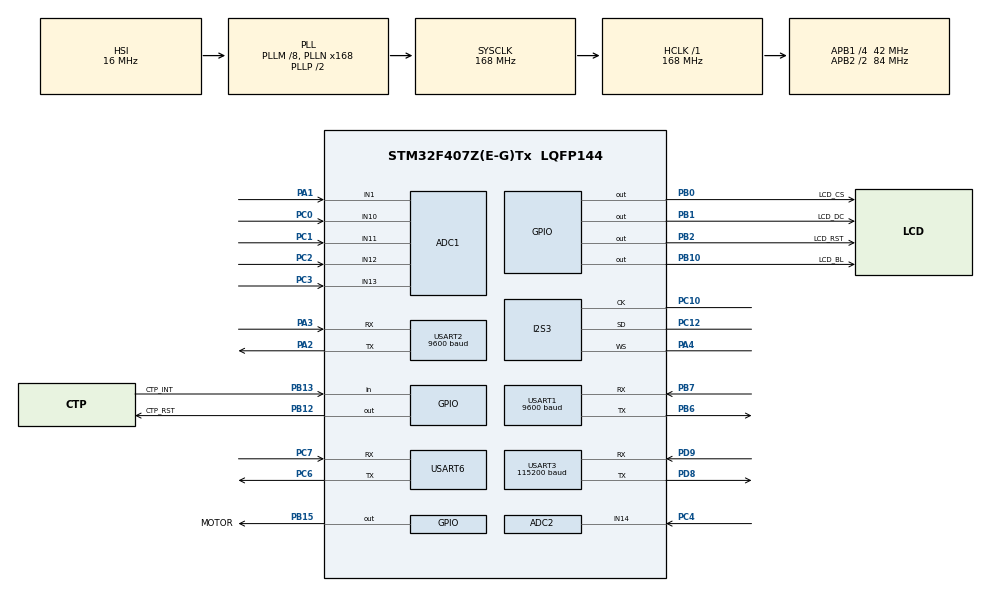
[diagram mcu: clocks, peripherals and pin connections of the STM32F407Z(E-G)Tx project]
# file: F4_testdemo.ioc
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ADC1.Channel-2\#ChannelRegularConversion=ADC_CHANNEL_1
ADC1.Channel-3\#ChannelRegularConversion=ADC_CHANNEL_10
ADC1.Channel-4\#ChannelRegularConversion=ADC_CHANNEL_11
ADC1.Channel-5\#ChannelRegularConversion=ADC_CHANNEL_12
ADC1.Channel-6\#ChannelRegularConversion=ADC_CHANNEL_13
ADC1.ContinuousConvMode=DISABLE
ADC1.DMAContinuousRequests=ENABLE
ADC1.EOCSelection=ADC_EOC_SEQ_CONV
ADC1.ExternalTrigConv=ADC_EXTERNALTRIGCONV_T3_TRGO
ADC1.NbrOfConversion=5
ADC1.NbrOfConversionFlag=1
ADC1.Rank-2\#ChannelRegularConversion=1
ADC1.Rank-3\#ChannelRegularConversion=2
ADC1.Rank-4\#ChannelRegularConversion=3
ADC1.Rank-5\#ChannelRegularConversion=4
ADC1.Rank-6\#ChannelRegularConversion=5
ADC1.SamplingTime-2\#ChannelRegularConversion=ADC_SAMPLETIME_15CYCLES
ADC1.SamplingTime-3\#ChannelRegularConversion=ADC_SAMPLETIME_15CYCLES
ADC1.SamplingTime-4\#ChannelRegularConversion=ADC_SAMPLETIME_15CYCLES
ADC1.SamplingTime-5\#ChannelRegularConversion=ADC_SAMPLETIME_15CYCLES
ADC1.SamplingTime-6\#ChannelRegularConversion=ADC_SAMPLETIME_15CYCLES
ADC1.ScanConvMode=ENABLE
ADC1.master=1
ADC2.Channel-0\#ChannelRegularConversion=ADC_CHANNEL_14
ADC2.NbrOfConversionFlag=1
ADC2.Rank-0\#ChannelRegularConversion=1
ADC2.SamplingTime-0\#ChannelRegularConversion=ADC_SAMPLETIME_3CYCLES
Dma.ADC1.1.Direction=DMA_PERIPH_TO_MEMORY
Dma.ADC1.1.FIFOMode=DMA_FIFOMODE_DISABLE
Dma.ADC1.1.Instance=DMA2_Stream0
Dma.ADC1.1.MemDataAlignment=DMA_MDATAALIGN_HALFWORD
Dma.ADC1.1.MemInc=DMA_MINC_ENABLE
Dma.ADC1.1.Mode=DMA_NORMAL
Dma.ADC1.1.PeriphDataAlignment=DMA_PDATAALIGN_HALFWORD
Dma.ADC1.1.PeriphInc=DMA_PINC_DISABLE
Dma.ADC1.1.Priority=DMA_PRIORITY_LOW
Dma.Request0=SPI3_RX
Dma.Request1=ADC1
Dma.SPI3_RX.0.Direction=DMA_PERIPH_TO_MEMORY
Dma.SPI3_RX.0.FIFOMode=DMA_FIFOMODE_DISABLE
Dma.SPI3_RX.0.Instance=DMA1_Stream0
Dma.SPI3_RX.0.MemDataAlignment=DMA_MDATAALIGN_HALFWORD
Dma.SPI3_RX.0.MemInc=DMA_MINC_ENABLE
Dma.SPI3_RX.0.Mode=DMA_CIRCULAR
Dma.SPI3_RX.0.PeriphDataAlignment=DMA_PDATAALIGN_HALFWORD
Dma.SPI3_RX.0.PeriphInc=DMA_PINC_DISABLE
Dma.SPI3_RX.0.Priority=DMA_PRIORITY_HIGH
I2S3.AudioFreq=I2S_AUDIOFREQ_16K
I2S3.DataFormat=I2S_DATAFORMAT_24B
I2S3.ErrorAudioFreq=-0.35 %
I2S3.FullDuplexMode=I2S_FULLDUPLEXMODE_DISABLE
I2S3.Instance=SPI$Index
I2S3.Mode=I2S_MODE_MASTER_RX
I2S3.RealAudioFreq=15.943 KHz
I2S3.VirtualMode=I2S_MODE_MASTER
Mcu.Family=STM32F4
Mcu.Name=STM32F407Z(E-G)Tx
Mcu.Package=LQFP144
NVIC.DMA1_Stream0_IRQn=true\:0\:0\:false\:false\:true\:false\:true\:true
NVIC.DMA2_Stream0_IRQn=true\:0\:0\:false\:false\:true\:true\:true\:true
NVIC.PriorityGroup=NVIC_PRIORITYGROUP_4
NVIC.TIM6_DAC_IRQn=true\:0\:0\:false\:false\:true\:true\:true\:true
NVIC.TIM8_UP_TIM13_IRQn=true\:15\:0\:false\:false\:true\:false\:true\:true
NVIC.TimeBase=TIM8_UP_TIM13_IRQn
NVIC.TimeBaseIP=TIM13
NVIC.USART1_IRQn=true\:0\:0\:false\:false\:true\:true\:true\:true
NVIC.USART2_IRQn=true\:0\:0\:false\:false\:true\:true\:true\:true
NVIC.USART3_IRQn=true\:0\:0\:false\:false\:true\:true\:true\:true
NVIC.USART6_IRQn=true\:0\:0\:false\:false\:true\:true\:true\:true
PA1.Signal=ADCx_IN1
PA13.Mode=Serial_Wire
PA13.Signal=SYS_JTMS-SWDIO
PA14.Mode=Serial_Wire
PA14.Signal=SYS_JTCK-SWCLK
PA2.Mode=Asynchronous
PA2.Signal=USART2_TX
PA3.Mode=Asynchronous
PA3.Signal=USART2_RX
PA4.Mode=Half_Duplex_Master
PA4.Signal=I2S3_WS
PB0.GPIO_Label=LCD_CS
PB0.PinState=GPIO_PIN_SET
PB0.Signal=GPIO_Output
PB1.GPIO_Label=LCD_DC
PB1.Signal=GPIO_Output
PB10.GPIO_Label=LCD_BL
PB10.Signal=GPIO_Output
PB12.GPIO_Label=CTP_RST
PB12.Signal=GPIO_Output
PB13.GPIO_Label=CTP_INT
PB13.Signal=GPIO_Input
PB15.GPIO_Label=MOTOR
PB15.Signal=GPIO_Output
PB2.GPIO_Label=LCD_RST
PB2.Signal=GPIO_Output
PB6.Mode=Asynchronous
PB6.Signal=USART1_TX
PB7.Mode=Asynchronous
PB7.Signal=USART1_RX
PC0.Signal=ADCx_IN10
PC1.Signal=ADCx_IN11
PC10.Mode=Half_Duplex_Master
PC10.Signal=I2S3_CK
PC12.Mode=Half_Duplex_Master
PC12.Signal=I2S3_SD
PC2.Signal=ADCx_IN12
PC3.Signal=ADCx_IN13
PC4.Signal=ADCx_IN14
PC6.Mode=Asynchronous
PC6.Signal=USART6_TX
PC7.Mode=Asynchronous
PC7.Signal=USART6_RX
PD8.Mode=Asynchronous
PD8.Signal=USART3_TX
PD9.Mode=Asynchronous
PD9.Signal=USART3_RX
PH0-OSC_IN.Mode=HSE-External-Oscillator
PH0-OSC_IN.Signal=RCC_OSC_IN
PH1-OSC_OUT.Mode=HSE-External-Oscillator
PH1-OSC_OUT.Signal=RCC_OSC_OUT
ProjectManager.HeapSize=0x800
ProjectManager.StackSize=0x800
ProjectManager.TargetToolchain=MDK-ARM V5.32
RCC.48MHZClocksFreq_Value=84000000
RCC.AHBFreq_Value=168000000
RCC.APB1CLKDivider=RCC_HCLK_DIV4
RCC.APB1Freq_Value=42000000
RCC.APB1TimFreq_Value=84000000
RCC.APB2CLKDivider=RCC_HCLK_DIV2
RCC.APB2Freq_Value=84000000
RCC.APB2TimFreq_Value=168000000
RCC.CortexFreq_Value=168000000
RCC.HCLKFreq_Value=168000000
RCC.HSE_VALUE=25000000
RCC.HSI_VALUE=16000000
RCC.LSE_VALUE=32768
RCC.PLLI2SN=50
RCC.PLLM=8
RCC.PLLN=168
RCC.SYSCLKFreq_VALUE=168000000
RCC.SYSCLKSource=RCC_SYSCLKSOURCE_PLLCLK
RCC.VCOOutputFreq_Value=336000000
SH.ADCx_IN1.0=ADC1_IN1,IN1
SH.ADCx_IN10.0=ADC1_IN10,IN10
SH.ADCx_IN11.0=ADC1_IN11,IN11
SH.ADCx_IN12.0=ADC1_IN12,IN12
SH.ADCx_IN13.0=ADC1_IN13,IN13
SH.ADCx_IN14.0=ADC2_IN14,IN14
STMicroelectronics.X-CUBE-AI.10.2.0.ActivationBufferSizeList=59624,12464
STMicroelectronics.X-CUBE-AI.10.2.0.ActivationBuffers=pool0;pool0
STMicroelectronics.X-CUBE-AI.10.2.0.ActivationNames=pool0
STMicroelectronics.X-CUBE-AI.10.2.0.ActivationSizes=AI_GESTURE_DATA_ACTIVATION_1_SIZE
STMicroelectronics.X-CUBE-AI.10.2.0.ApplicationCcDeviceJjApplication=ApplicationTemplate
STMicroelectronics.X-CUBE-AI.10.2.0.HeapSize=0x800
STMicroelectronics.X-CUBE-AI.10.2.0.InternalRamActivationBufferMaxSize=AI_GESTURE_DATA_ACTIVATIONS_SIZE
STMicroelectronics.X-CUBE-AI.10.2.0.LatestDirectoryUsed-c4dc33fe20e2cc551a755ea5b6440ba6ad6f59cae55f8b2f9ca4a1cb2c0a5d8a=C\:\\Users\\Lenovo\\Desktop\\voice_model
STMicroelectronics.X-CUBE-AI.10.2.0.LatestDirectoryUsed-c98f6a206eb29c1f10f58a3b24967868125e821548904811bce838b566c8fddb=C\:\\Users\\Lenovo\\Desktop\\voice_model
STMicroelectronics.X-CUBE-AI.10.2.0.LatestDirectoryUsed-ef77478cd96e8ef59321acd0e110cdf71ca9a6a969e30cfa97689bd0d804b00a=C\:\\Users\\Lenovo\\Desktop
STMicroelectronics.X-CUBE-AI.10.2.0.LatestDirectoryUsed-fbc4dbbd3574634d0c2a86d8fc104ee823d15bb9cdd6208609368c36d20358bf=C\:\\Users\\Lenovo\\Desktop\\gesture_model
STMicroelectronics.X-CUBE-AI.10.2.0.MaximumNumberOfInputLayer=1
STMicroelectronics.X-CUBE-AI.10.2.0.MaximumNumberOfOutputLayer=1
STMicroelectronics.X-CUBE-AI.10.2.0.MaximumSizeOfInputLayer=1
STMicroelectronics.X-CUBE-AI.10.2.0.MaximumSizeOfOutputLayer=1
STMicroelectronics.X-CUBE-AI.10.2.0.ModelActualCompression-c4dc33fe20e2cc551a755ea5b6440ba6ad6f59cae55f8b2f9ca4a1cb2c0a5d8a=0.0
STMicroelectronics.X-CUBE-AI.10.2.0.ModelActualCompression-c98f6a206eb29c1f10f58a3b24967868125e821548904811bce838b566c8fddb=0.0
STMicroelectronics.X-CUBE-AI.10.2.0.ModelActualCompression-ef77478cd96e8ef59321acd0e110cdf71ca9a6a969e30cfa97689bd0d804b00a=0.0
STMicroelectronics.X-CUBE-AI.10.2.0.ModelActualCompression-fbc4dbbd3574634d0c2a86d8fc104ee823d15bb9cdd6208609368c36d20358bf=0.0
STMicroelectronics.X-CUBE-AI.10.2.0.ModelCompression-c4dc33fe20e2cc551a755ea5b6440ba6ad6f59cae55f8b2f9ca4a1cb2c0a5d8a=None
STMicroelectronics.X-CUBE-AI.10.2.0.ModelCompression-c98f6a206eb29c1f10f58a3b24967868125e821548904811bce838b566c8fddb=None
STMicroelectronics.X-CUBE-AI.10.2.0.ModelCompression-ef77478cd96e8ef59321acd0e110cdf71ca9a6a969e30cfa97689bd0d804b00a=None
STMicroelectronics.X-CUBE-AI.10.2.0.ModelCompression-fbc4dbbd3574634d0c2a86d8fc104ee823d15bb9cdd6208609368c36d20358bf=None
STMicroelectronics.X-CUBE-AI.10.2.0.ModelFlashOccupation-c4dc33fe20e2cc551a755ea5b6440ba6ad6f59cae55f8b2f9ca4a1cb2c0a5d8a=22512
STMicroelectronics.X-CUBE-AI.10.2.0.ModelFlashOccupation-c98f6a206eb29c1f10f58a3b24967868125e821548904811bce838b566c8fddb=22512
STMicroelectronics.X-CUBE-AI.10.2.0.ModelFlashOccupation-ef77478cd96e8ef59321acd0e110cdf71ca9a6a969e30cfa97689bd0d804b00a=25200
STMicroelectronics.X-CUBE-AI.10.2.0.ModelFlashOccupation-fbc4dbbd3574634d0c2a86d8fc104ee823d15bb9cdd6208609368c36d20358bf=279208
STMicroelectronics.X-CUBE-AI.10.2.0.ModelHashList=fbc4dbbd3574634d0c2a86d8fc104ee823d15bb9cdd6208609368c36d20358bf;c98f6a206eb29c1f10f58a3b24967868125e821548904811bce838b566c8fddb
STMicroelectronics.X-CUBE-AI.10.2.0.ModelKind-c4dc33fe20e2cc551a755ea5b6440ba6ad6f59cae55f8b2f9ca4a1cb2c0a5d8a=ONNX
STMicroelectronics.X-CUBE-AI.10.2.0.ModelKind-c98f6a206eb29c1f10f58a3b24967868125e821548904811bce838b566c8fddb=ONNX
STMicroelectronics.X-CUBE-AI.10.2.0.ModelKind-ef77478cd96e8ef59321acd0e110cdf71ca9a6a969e30cfa97689bd0d804b00a=ONNX
STMicroelectronics.X-CUBE-AI.10.2.0.ModelKind-fbc4dbbd3574634d0c2a86d8fc104ee823d15bb9cdd6208609368c36d20358bf=ONNX
STMicroelectronics.X-CUBE-AI.10.2.0.ModelMacc-c4dc33fe20e2cc551a755ea5b6440ba6ad6f59cae55f8b2f9ca4a1cb2c0a5d8a=22416
STMicroelectronics.X-CUBE-AI.10.2.0.ModelMacc-c98f6a206eb29c1f10f58a3b24967868125e821548904811bce838b566c8fddb=22416
STMicroelectronics.X-CUBE-AI.10.2.0.ModelMacc-ef77478cd96e8ef59321acd0e110cdf71ca9a6a969e30cfa97689bd0d804b00a=126979
STMicroelectronics.X-CUBE-AI.10.2.0.ModelMacc-fbc4dbbd3574634d0c2a86d8fc104ee823d15bb9cdd6208609368c36d20358bf=7735258
STMicroelectronics.X-CUBE-AI.10.2.0.ModelName-c4dc33fe20e2cc551a755ea5b6440ba6ad6f59cae55f8b2f9ca4a1cb2c0a5d8a=voice
STMicroelectronics.X-CUBE-AI.10.2.0.ModelName-c98f6a206eb29c1f10f58a3b24967868125e821548904811bce838b566c8fddb=voice
STMicroelectronics.X-CUBE-AI.10.2.0.ModelName-ef77478cd96e8ef59321acd0e110cdf71ca9a6a969e30cfa97689bd0d804b00a=voice
STMicroelectronics.X-CUBE-AI.10.2.0.ModelName-fbc4dbbd3574634d0c2a86d8fc104ee823d15bb9cdd6208609368c36d20358bf=gesture
STMicroelectronics.X-CUBE-AI.10.2.0.ModelNameList=gesture,voice
STMicroelectronics.X-CUBE-AI.10.2.0.ModelRamOccupation-c4dc33fe20e2cc551a755ea5b6440ba6ad6f59cae55f8b2f9ca4a1cb2c0a5d8a=12464
STMicroelectronics.X-CUBE-AI.10.2.0.ModelRamOccupation-c98f6a206eb29c1f10f58a3b24967868125e821548904811bce838b566c8fddb=12464
STMicroelectronics.X-CUBE-AI.10.2.0.ModelRamOccupation-ef77478cd96e8ef59321acd0e110cdf71ca9a6a969e30cfa97689bd0d804b00a=7464
STMicroelectronics.X-CUBE-AI.10.2.0.ModelRamOccupation-fbc4dbbd3574634d0c2a86d8fc104ee823d15bb9cdd6208609368c36d20358bf=59624
STMicroelectronics.X-CUBE-AI.10.2.0.ModelStructureFile-c4dc33fe20e2cc551a755ea5b6440ba6ad6f59cae55f8b2f9ca4a1cb2c0a5d8a=C\:\\Users\\Lenovo\\Desktop\\voice_model\\best_model_voice.onnx
STMicroelectronics.X-CUBE-AI.10.2.0.ModelStructureFile-c98f6a206eb29c1f10f58a3b24967868125e821548904811bce838b566c8fddb=C\:\\Users\\Lenovo\\Desktop\\voice_model\\best_model_voice.onnx
STMicroelectronics.X-CUBE-AI.10.2.0.ModelStructureFile-ef77478cd96e8ef59321acd0e110cdf71ca9a6a969e30cfa97689bd0d804b00a=C\:\\Users\\Lenovo\\Desktop\\sound_cnn.onnx
STMicroelectronics.X-CUBE-AI.10.2.0.ModelStructureFile-fbc4dbbd3574634d0c2a86d8fc104ee823d15bb9cdd6208609368c36d20358bf=C\:\\Users\\Lenovo\\Desktop\\gesture_model\\best_model.onnx
STMicroelectronics.X-CUBE-AI.10.2.0.ModelType-c4dc33fe20e2cc551a755ea5b6440ba6ad6f59cae55f8b2f9ca4a1cb2c0a5d8a=STM32Cube.AI MCU runtime
STMicroelectronics.X-CUBE-AI.10.2.0.ModelType-c98f6a206eb29c1f10f58a3b24967868125e821548904811bce838b566c8fddb=STM32Cube.AI MCU runtime
STMicroelectronics.X-CUBE-AI.10.2.0.ModelType-ef77478cd96e8ef59321acd0e110cdf71ca9a6a969e30cfa97689bd0d804b00a=STM32Cube.AI MCU runtime
STMicroelectronics.X-CUBE-AI.10.2.0.ModelType-fbc4dbbd3574634d0c2a86d8fc104ee823d15bb9cdd6208609368c36d20358bf=STM32Cube.AI MCU runtime
STMicroelectronics.X-CUBE-AI.10.2.0.ReadyForCodeGeneration=true
STMicroelectronics.X-CUBE-AI.10.2.0.StackSize=0x800
STMicroelectronics.X-CUBE-AI.10.2.0.WorkingBufferStartAddrList=0xFFFFFFFF,0xFFFFFFFF
STMicroelectronics.X-CUBE-AI.10.2.0.XAaCUBEAaAICcArtificialOoIntelligenceJjCore=true
STMicroelectronics.X-CUBE-AI.10.2.0.copyWeightToRam=false
STMicroelectronics.X-CUBE-AI.10.2.0.copyWeightToRam-c4dc33fe20e2cc551a755ea5b6440ba6ad6f59cae55f8b2f9ca4a1cb2c0a5d8a=false
STMicroelectronics.X-CUBE-AI.10.2.0.copyWeightToRam-ef77478cd96e8ef59321acd0e110cdf71ca9a6a969e30cfa97689bd0d804b00a=false
STMicroelectronics.X-CUBE-AI.10.2.0.copyWeightToRam-fbc4dbbd3574634d0c2a86d8fc104ee823d15bb9cdd6208609368c36d20358bf=false
STMicroelectronics.X-CUBE-AI.10.2.0.customLayerConfigEnabled=false
STMicroelectronics.X-CUBE-AI.10.2.0.customLayerConfigEnabled-c4dc33fe20e2cc551a755ea5b6440ba6ad6f59cae55f8b2f9ca4a1cb2c0a5d8a=false
STMicroelectronics.X-CUBE-AI.10.2.0.customLayerConfigEnabled-ef77478cd96e8ef59321acd0e110cdf71ca9a6a969e30cfa97689bd0d804b00a=false
STMicroelectronics.X-CUBE-AI.10.2.0.customLayerConfigEnabled-fbc4dbbd3574634d0c2a86d8fc104ee823d15bb9cdd6208609368c36d20358bf=false
STMicroelectronics.X-CUBE-AI.10.2.0.noOnnxIoTranspose=false
STMicroelectronics.X-CUBE-AI.10.2.0.noOnnxIoTranspose-c4dc33fe20e2cc551a755ea5b6440ba6ad6f59cae55f8b2f9ca4a1cb2c0a5d8a=false
STMicroelectronics.X-CUBE-AI.10.2.0.noOnnxIoTranspose-ef77478cd96e8ef59321acd0e110cdf71ca9a6a969e30cfa97689bd0d804b00a=false
STMicroelectronics.X-CUBE-AI.10.2.0.noOnnxIoTranspose-fbc4dbbd3574634d0c2a86d8fc104ee823d15bb9cdd6208609368c36d20358bf=false
STMicroelectronics.X-CUBE-AI.10.2.0.useInputAllocation=true
STMicroelectronics.X-CUBE-AI.10.2.0.useInputAllocation-c4dc33fe20e2cc551a755ea5b6440ba6ad6f59cae55f8b2f9ca4a1cb2c0a5d8a=true
STMicroelectronics.X-CUBE-AI.10.2.0.useInputAllocation-ef77478cd96e8ef59321acd0e110cdf71ca9a6a969e30cfa97689bd0d804b00a=true
STMicroelectronics.X-CUBE-AI.10.2.0.useInputAllocation-fbc4dbbd3574634d0c2a86d8fc104ee823d15bb9cdd6208609368c36d20358bf=true
STMicroelectronics.X-CUBE-AI.10.2.0.useOutputAllocation=true
STMicroelectronics.X-CUBE-AI.10.2.0.useOutputAllocation-c4dc33fe20e2cc551a755ea5b6440ba6ad6f59cae55f8b2f9ca4a1cb2c0a5d8a=true
STMicroelectronics.X-CUBE-AI.10.2.0.useOutputAllocation-ef77478cd96e8ef59321acd0e110cdf71ca9a6a969e30cfa97689bd0d804b00a=true
STMicroelectronics.X-CUBE-AI.10.2.0.useOutputAllocation-fbc4dbbd3574634d0c2a86d8fc104ee823d15bb9cdd6208609368c36d20358bf=true
STMicroelectronics.X-CUBE-ALGOBUILD.1.5.0.LibraryCcDSPOoLibraryJjDSPOoLibrary=true
TIM3.AutoReloadPreload=TIM_AUTORELOAD_PRELOAD_ENABLE
TIM3.Period=9999
TIM3.Prescaler=83
TIM3.TIM_MasterOutputTrigger=TIM_TRGO_UPDATE
TIM6.AutoReloadPreload=TIM_AUTORELOAD_PRELOAD_ENABLE
TIM6.Period=9999
TIM6.Prescaler=839
USART1.BaudRate=9600
USART1.VirtualMode=VM_ASYNC
USART2.BaudRate=9600
USART2.VirtualMode=VM_ASYNC
USART3.BaudRate=115200
USART3.VirtualMode=VM_ASYNC
USART6.VirtualMode=VM_ASYNC
VP_STMicroelectronics.X-CUBE-AI_VS_ArtificialOoIntelligenceJjXAaCUBEAaAI_10.2.0.Mode=ArtificialOoIntelligenceJjXAaCUBEAaAI
VP_STMicroelectronics.X-CUBE-AI_VS_DeviceJjApplication_10.2.0.Mode=DeviceJjApplication
VP_STMicroelectronics.X-CUBE-ALGOBUILD_VS_DSPOoLibraryJjLibrary_1.5.0_1.5.0.Mode=DSPOoLibraryJjLibrary
VP_SYS_VS_tim13.Mode=TIM13
VP_TIM3_VS_ClockSourceINT.Mode=Internal
VP_TIM6_VS_ClockSourceINT.Mode=Enable_Timer
board=custom

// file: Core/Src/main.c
/* USER CODE BEGIN Header */
/**
  ******************************************************************************
  * @file           : main.c
  * @brief          : Main program body
  ******************************************************************************
  * @attention
  *
  * Copyright (c) 2026 STMicroelectronics.
  * All rights reserved.
  *
  * This software is licensed under terms that can be found in the LICENSE file
  * in the root directory of this software component.
  * If no LICENSE file comes with this software, it is provided AS-IS.
  *
  ******************************************************************************
  */
/* USER CODE END Header */
#include "main.h"
#include "adc.h"
#include "dma.h"
#include "i2s.h"
#include "tim.h"
#include "usart.h"
#include "gpio.h"
#include "app_x-cube-ai.h"

/* USER CODE BEGIN Includes */
#include "jy62.h"
#include "inmp441.h"
#include <stdio.h>
#include <stdint.h>
#include <string.h>
/* USER CODE END Includes */

/* USER CODE BEGIN PM */
volatile uint32_t mic_level = 0;
volatile uint32_t mic_peak = 0;
volatile uint32_t mic_energy = 0;
volatile uint32_t mic_zcr = 0;
volatile uint32_t mic_peak_avg_ratio = 0;
volatile int32_t mic_sample = 0;
volatile uint8_t adc_send_flag;
/* USER CODE END PM */

void SystemClock_Config(void);
/* USER CODE BEGIN PFP */
static void MotorAlarm_Start(uint8_t event);
static void MotorAlarm_Task(void);
static void SoundEvent_Handle(uint8_t event);
static void MP2Feature_Send(void);
/* USER CODE END PFP */

/* USER CODE BEGIN 0 */
volatile uint16_t ad_value[5];
float adc_train_buf[200][11];
int32_t adc_value[11];
volatile uint32_t adc_cnt;
uint16_t adc_index;
volatile uint8_t adc_flag;

volatile uint8_t sound_inference_ready;
uint16_t voice_cnt;
uint16_t voice_valid_count;
uint16_t voice_step_cnt;
uint32_t voice_buffer[250][INMP441_VOICE_FEATURE_COUNT];
uint8_t gesture_result = 0xFFU;
uint8_t sound_event_result = SOUND_EVENT_UNKNOWN;
volatile uint8_t gesture_enabled = 1U;
volatile uint8_t spell_enabled = 0U;
volatile uint8_t text_display_enabled  = 0U;

#define MOTOR_ALARM_COOLDOWN_MS 2000U

static uint8_t motor_alarm_active;
static uint8_t motor_alarm_event = SOUND_EVENT_UNKNOWN;
static uint8_t motor_alarm_phase;
static uint8_t motor_last_alarm_event = SOUND_EVENT_UNKNOWN;
static uint32_t motor_alarm_deadline;
static uint32_t motor_last_alarm_tick;

#define SPELL_TX_BUF_SIZE 160U

/* 0xAA + 11 comma-separated feature values + uint16 sequence + 0xBB */
static void MP2Feature_Send(void)
{
    static uint16_t sequence;
    uint8_t packet[SPELL_TX_BUF_SIZE];
    int payload_len;
    uint16_t frame_sequence = sequence++;

    packet[0] = 0xAAU;
    payload_len = snprintf((char *)&packet[1], sizeof(packet) - 2U,
                           "%ld,%ld,%ld,%ld,%ld,%ld,%ld,%ld,%ld,%ld,%ld,%u",
                           (long)adc_value[0], (long)adc_value[1],
                           (long)adc_value[2], (long)adc_value[3],
                           (long)adc_value[4], (long)adc_value[5],
                           (long)adc_value[6], (long)adc_value[7],
                           (long)adc_value[8], (long)adc_value[9],
                           (long)adc_value[10],
                           (unsigned int)frame_sequence);

    if ((payload_len > 0) &&
        ((uint32_t)payload_len < (sizeof(packet) - 2U)))
    {
        packet[(uint32_t)payload_len + 1U] = 0xBBU;
        HAL_UART_Transmit(&huart3, packet,
                          (uint16_t)((uint32_t)payload_len + 2U),
                          HAL_MAX_DELAY);
    }
}

static void MotorAlarm_Start(uint8_t event)
{
    uint32_t now;

    if ((event != SOUND_EVENT_HELP) &&
        (event != SOUND_EVENT_KNOCK) &&
        (event != SOUND_EVENT_HORN))
    {
        return;
    }

    now = HAL_GetTick();
    if (motor_alarm_active != 0U)
    {
        return;
    }

    if ((motor_last_alarm_event == event) &&
        ((uint32_t)(now - motor_last_alarm_tick) < MOTOR_ALARM_COOLDOWN_MS))
    {
        return;
    }

    motor_alarm_active = 1U;
    motor_alarm_event = event;
    motor_alarm_phase = 0U;
    motor_last_alarm_event = event;
    motor_last_alarm_tick = now;
    HAL_GPIO_WritePin(MOTOR_GPIO_Port, MOTOR_Pin, GPIO_PIN_SET);

    if (event == SOUND_EVENT_HELP)
    {
        motor_alarm_deadline = now + 1000U;
    }
    else if (event == SOUND_EVENT_KNOCK)
    {
        motor_alarm_deadline = now + 200U;
    }
    else
    {
        motor_alarm_deadline = now + 150U;
    }
}

static void MotorAlarm_Task(void)
{
    uint32_t now;

    if (motor_alarm_active == 0U)
    {
        return;
    }

    now = HAL_GetTick();
    if ((int32_t)(now - motor_alarm_deadline) < 0)
    {
        return;
    }

    if (motor_alarm_event == SOUND_EVENT_HELP)
    {
        HAL_GPIO_WritePin(MOTOR_GPIO_Port, MOTOR_Pin, GPIO_PIN_RESET);
        motor_alarm_active = 0U;
    }
    else if (motor_alarm_event == SOUND_EVENT_KNOCK)
    {
        if (motor_alarm_phase == 0U)
        {
            HAL_GPIO_WritePin(MOTOR_GPIO_Port, MOTOR_Pin, GPIO_PIN_RESET);
            motor_alarm_phase = 1U;
            motor_alarm_deadline = now + 150U;
        }
        else if (motor_alarm_phase == 1U)
        {
            HAL_GPIO_WritePin(MOTOR_GPIO_Port, MOTOR_Pin, GPIO_PIN_SET);
            motor_alarm_phase = 2U;
            motor_alarm_deadline = now + 200U;
        }
        else
        {
            HAL_GPIO_WritePin(MOTOR_GPIO_Port, MOTOR_Pin, GPIO_PIN_RESET);
            motor_alarm_active = 0U;
        }
    }
    else
    {
        if ((motor_alarm_phase == 0U) || (motor_alarm_phase == 2U))
        {
            HAL_GPIO_WritePin(MOTOR_GPIO_Port, MOTOR_Pin, GPIO_PIN_RESET);
            motor_alarm_phase++;
            motor_alarm_deadline = now + 100U;
        }
        else if ((motor_alarm_phase == 1U) || (motor_alarm_phase == 3U))
        {
            HAL_GPIO_WritePin(MOTOR_GPIO_Port, MOTOR_Pin, GPIO_PIN_SET);
            motor_alarm_phase++;
            motor_alarm_deadline = now + 150U;
        }
        else
        {
            HAL_GPIO_WritePin(MOTOR_GPIO_Port, MOTOR_Pin, GPIO_PIN_RESET);
            motor_alarm_active = 0U;
        }
    }
}

static void SoundEvent_Handle(uint8_t event)
{
    if (event == SOUND_EVENT_QUIET)
    {
        uart_printf(&huart2, "t16.txt=\"%s\"\xff\xff\xff", "周围安静");
    }
    else if (event == SOUND_EVENT_KNOCK)
    {
        uart_printf(&huart2, "t16.txt=\"%s\"\xff\xff\xff", "有人敲门");
        MotorAlarm_Start(event);
    }
    else if (event == SOUND_EVENT_HORN)
    {
        uart_printf(&huart2, "t16.txt=\"%s\"\xff\xff\xff", "车辆鸣笛");
        MotorAlarm_Start(event);
    }
    else
    {
        uart_printf(&huart2, "t16.txt=\"%s\"\xff\xff\xff","正常");
    }
}
/* USER CODE END 0 */

int main(void)
{

  /* MCU Configuration--------------------------------------------------------*/

  /* Reset of all peripherals, Initializes the Flash interface and the Systick. */
  HAL_Init();

  /* Configure the system clock */
  SystemClock_Config();

  /* Initialize all configured peripherals */
  MX_GPIO_Init();
  MX_DMA_Init();
  MX_I2S3_Init();
  MX_ADC1_Init();
  MX_ADC2_Init();
  MX_USART2_UART_Init();
  MX_USART3_UART_Init();
  MX_USART6_UART_Init();
  MX_TIM3_Init();
  MX_USART1_UART_Init();
  MX_TIM6_Init();
  MX_X_CUBE_AI_Init();
  /* USER CODE BEGIN 2 */

	/* IMU必须能够抢占TIM6 */
	HAL_NVIC_SetPriority(USART6_IRQn, 0, 0);
	/* ADC/I2S等 */
	HAL_NVIC_SetPriority(DMA2_Stream0_IRQn, 1, 0);
	HAL_NVIC_SetPriority(DMA1_Stream0_IRQn, 1, 0);
	/* MP2/HC-08发送定时器 */
	HAL_NVIC_SetPriority(TIM6_DAC_IRQn, 3, 0);
	Voice_AI_Init();
	Gesture_AI_ResetDecision();
	JY62_Init(&huart6);
	HAL_ADC_Start_DMA(&hadc1,(uint32_t*)ad_value,5);
	HAL_TIM_Base_Start(&htim3);
	HAL_TIM_Base_Start_IT(&htim6);
	HAL_UART_Receive_IT(&huart1,&uart1_rx,1);
	HAL_UART_Receive_IT(&huart2,&uart2_rx,1);
	HAL_UART_Receive_IT(&huart3,&uart3_rx,1);
	HAL_GPIO_WritePin(MOTOR_GPIO_Port,MOTOR_Pin,GPIO_PIN_RESET);
	INMP441_Init();
	INMP441_Start();

  /* USER CODE END 2 */

  /* Infinite loop */
  /* USER CODE BEGIN WHILE */
	while (1)
  {
		uint8_t mp2_gesture_index;
		uint8_t mp2_gesture_confidence;

		if(uart2_flag==1)
		{
			uart2_flag=0;
			if ((uart2_last_command == 0x01U) ||
			    (uart2_last_command == 0x02U) ||
			    (uart2_last_command == 0x05U) ||
			    (uart2_last_command == 0x06U))
			{
				Gesture_AI_ResetDecision();
			}
			if ((uart2_last_command == 0x01U) || (uart2_last_command == 0x05U))
			{
				if(adc_send_flag != 0U)
				{
					adc_send_flag = 0U;
					if(adc_flag == 0U)
					{
						HAL_ADC_Start_DMA(&hadc1,(uint32_t*)ad_value,5);
					}
				}
				UART3_SpellRxClear();
				UART3_GestureRxClear();

			}
		}
		if (UART3_GestureResult_Get(&mp2_gesture_index,
		                            &mp2_gesture_confidence) != 0U)
		{
			Gesture_MP2Result_Process(mp2_gesture_index,
			                          mp2_gesture_confidence);
		}

		if(adc_flag==1)
		{
			adc_flag=0;

			if(gesture_enabled)
			{
//				 MX_X_CUBE_AI_Process();
			}
			HAL_ADC_Start_DMA(&hadc1,(uint32_t*)ad_value,5);
			HAL_TIM_Base_Start(&htim3);
		}
		INMP441_Task();
		if (sound_inference_ready)
		{
			sound_inference_ready=0;
			SoundEvent_AI_Process();
			SoundEvent_Handle(sound_event_result);
		}
		MotorAlarm_Task();
		if (voice_text_rx_done)
		{
			if(text_display_enabled)
			{
				uart_printf(&huart2, "t12.txt=\"%s\"\xff\xff\xff", voice_text_rx_buf);
			}
			voice_text_rx_done = 0U;
		}
		if (spell_rx_done)
		{
			if(spell_enabled)
			{
				uart_printf(&huart2, "t11.txt=\"%s\"\xff\xff\xff", spell_rx_buf);
				if (spell_gbk_len > 0U)
				{
					uart_printf(&huart1, "%s\r\n", spell_gbk_rx_buf);
				}
			}
			spell_rx_done = 0U;
			spell_gbk_len = 0U;
		}
    /* USER CODE END WHILE */

//  MX_X_CUBE_AI_Process();
  }
}

void SystemClock_Config(void)
{
  RCC_OscInitTypeDef RCC_OscInitStruct = {0};
  RCC_ClkInitTypeDef RCC_ClkInitStruct = {0};

  /** Configure the main internal regulator output voltage
  */
  __HAL_RCC_PWR_CLK_ENABLE();
  __HAL_PWR_VOLTAGESCALING_CONFIG(PWR_REGULATOR_VOLTAGE_SCALE1);

  /** Initializes the RCC Oscillators according to the specified parameters
  * in the RCC_OscInitTypeDef structure.
  */
  RCC_OscInitStruct.OscillatorType = RCC_OSCILLATORTYPE_HSI;
  RCC_OscInitStruct.HSIState = RCC_HSI_ON;
  RCC_OscInitStruct.HSICalibrationValue = RCC_HSICALIBRATION_DEFAULT;
  RCC_OscInitStruct.PLL.PLLState = RCC_PLL_ON;
  RCC_OscInitStruct.PLL.PLLSource = RCC_PLLSOURCE_HSI;
  RCC_OscInitStruct.PLL.PLLM = 8;
  RCC_OscInitStruct.PLL.PLLN = 168;
  RCC_OscInitStruct.PLL.PLLP = RCC_PLLP_DIV2;
  RCC_OscInitStruct.PLL.PLLQ = 4;
  if (HAL_RCC_OscConfig(&RCC_OscInitStruct) != HAL_OK)
  {
    Error_Handler();
  }

  /** Initializes the CPU, AHB and APB buses clocks
  */
  RCC_ClkInitStruct.ClockType = RCC_CLOCKTYPE_HCLK|RCC_CLOCKTYPE_SYSCLK
                              |RCC_CLOCKTYPE_PCLK1|RCC_CLOCKTYPE_PCLK2;
  RCC_ClkInitStruct.SYSCLKSource = RCC_SYSCLKSOURCE_PLLCLK;
  RCC_ClkInitStruct.AHBCLKDivider = RCC_SYSCLK_DIV1;
  RCC_ClkInitStruct.APB1CLKDivider = RCC_HCLK_DIV4;
  RCC_ClkInitStruct.APB2CLKDivider = RCC_HCLK_DIV2;

  if (HAL_RCC_ClockConfig(&RCC_ClkInitStruct, FLASH_LATENCY_5) != HAL_OK)
  {
    Error_Handler();
  }
}

/* USER CODE BEGIN 4 */
void HAL_I2S_RxHalfCpltCallback(I2S_HandleTypeDef *hi2s)
{
    INMP441_RxHalfCpltCallback(hi2s);
}

void HAL_I2S_RxCpltCallback(I2S_HandleTypeDef *hi2s)
{
    INMP441_RxCpltCallback(hi2s);
}

void HAL_I2S_ErrorCallback(I2S_HandleTypeDef *hi2s)
{
    INMP441_ErrorCallback(hi2s);
}

void HAL_ADC_ConvCpltCallback(ADC_HandleTypeDef* hadc)
{
    if (hadc->Instance == ADC1)//10ms进一次
    {
				uint8_t i;
				for(i=0;i<5;i++)
				{
					adc_train_buf[adc_index+adc_cnt][i]=(float)((ad_value[i] - 300.0f) * 5.0f);
					adc_value[i]=(((float)ad_value[i])-300.0f)*5.0f;
				}
				adc_train_buf[adc_index+adc_cnt][5]=jy62.ax*1000.0f;
				adc_train_buf[adc_index+adc_cnt][6]=jy62.ay*1000.0f;
				adc_train_buf[adc_index+adc_cnt][7]=jy62.az*1000.0f;
				adc_train_buf[adc_index+adc_cnt][8]=jy62.wx*100.0f;
				adc_train_buf[adc_index+adc_cnt][9]=jy62.wy*100.0f;
				adc_train_buf[adc_index+adc_cnt][10]=jy62.wz*100.0f;

				adc_value[5]=(int32_t)(jy62.ax*1000.0f);
				adc_value[6]=(int32_t)(jy62.ay*1000.0f);
				adc_value[7]=(int32_t)(jy62.az*1000.0f);
				adc_value[8]=(int32_t)(jy62.wx*100.0f);
				adc_value[9]=(int32_t)(jy62.wy*100.0f);
				adc_value[10]=(int32_t)(jy62.wz*100.0f);
				adc_cnt++;      // 每采完一组，计数加一

				HAL_ADC_Start_DMA(&hadc1,(uint32_t*)ad_value,5);

				if(adc_cnt==20)
				{
				adc_cnt=0;
				adc_index=adc_index+20;
				if(adc_index==200)adc_index=0;
				HAL_TIM_Base_Stop(&htim3);
				HAL_ADC_Stop_DMA(&hadc1);
				__HAL_TIM_SET_COUNTER(&htim3, 0);
				adc_flag = 1;   // 等待主循环处理数据
				}
    }
}
/* USER CODE END 4 */

void HAL_TIM_PeriodElapsedCallback(TIM_HandleTypeDef *htim)
{
  if (htim->Instance == TIM13)
  {
    HAL_IncTick();
  }
	if (htim->Instance == TIM6)
	{
			if(spell_enabled||gesture_enabled)
			{
				MP2Feature_Send();
			}
	}
}

void Error_Handler(void)
{
  __disable_irq();
  while (1)
  {
  }
}
